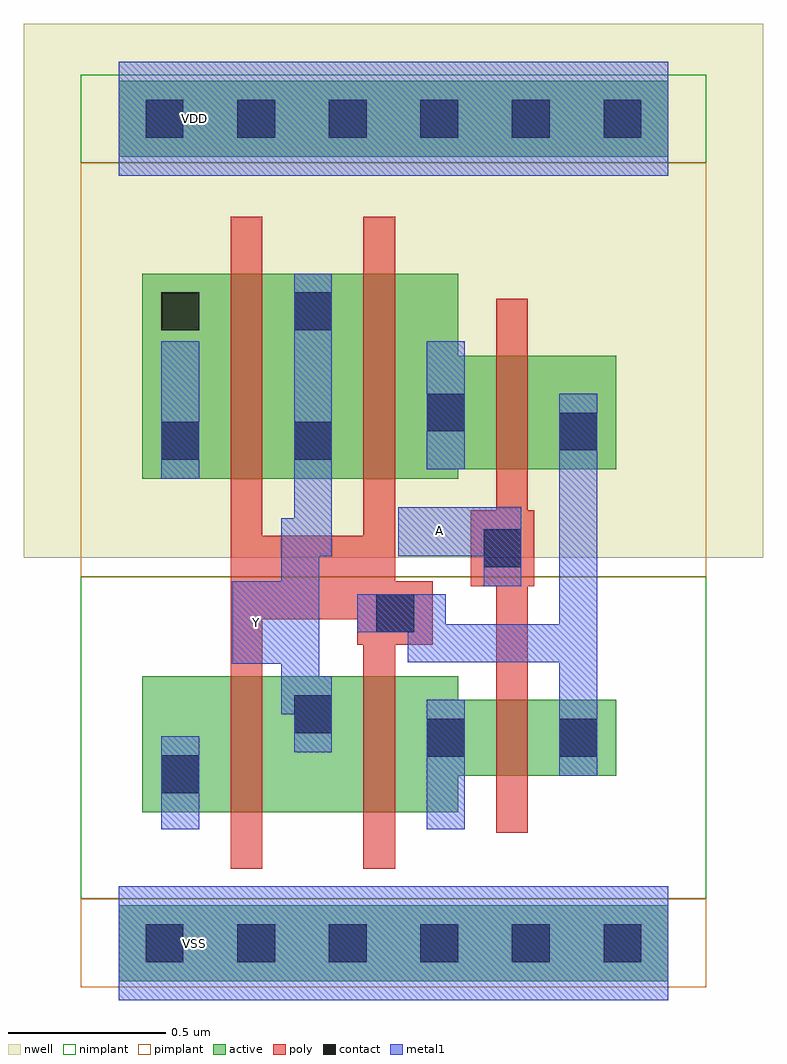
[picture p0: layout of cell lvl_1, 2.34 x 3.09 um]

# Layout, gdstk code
import gdstk
lib = gdstk.Library(unit=1e-6, precision=1e-09)
def R(c, l, rs):  # rectangles x0, y0, x1, y1
    for r in rs: c.add(gdstk.rectangle(r[:2], r[2:], *l))
def A(c, l, x, y, w, h, nx, ny, dx, dy):  # array of equal rectangles
    R(c, l, [(x+i*dx, y+j*dy, x+i*dx+w, y+j*dy+h) for i in range(nx) for j in range(ny)])
active = (1, 0)
nwell = (2, 0)
poly = (3, 0)
nimplant = (4, 0)
pimplant = (5, 0)
contact = (6, 0)
metal1 = (7, 0)

lvl_1 = lib.new_cell('lvl_1')
R(lvl_1, active, [(0,-0.12,1.74,0.12), (0.075,0.415,1.075,0.53), (0.075,0.53,1.575,0.77), (0.075,0.77,1.075,0.845), (0.075,1.47,1.075,1.5), (0.075,1.5,1.575,1.86), (0.075,1.86,1.075,2.12), (0,2.49,1.74,2.73)])
R(lvl_1, nwell, [(-0.3,1.22,2.04,2.91)])
R(lvl_1, poly, [(0.355,0.235,0.455,1.025), (0.775,0.235,0.875,0.945), (1.195,0.35,1.295,1.13), (0.755,0.945,0.995,1.025), (0.355,1.025,0.995,1.145), (1.115,1.13,1.315,1.37), (0.355,1.145,0.875,1.29), (0.355,1.29,0.455,2.3), (0.775,1.29,0.875,2.3), (1.195,1.37,1.295,2.04)])
R(lvl_1, nimplant, [(-0.12,0.14,1.86,1.16), (-0.12,2.47,1.86,2.75)])
R(lvl_1, pimplant, [(-0.12,-0.14,1.86,0.14), (-0.12,1.16,1.86,2.47)])
A(lvl_1, contact, 0.085, -0.06, 0.12, 0.12, 6, 2, 0.29, 2.61)
R(lvl_1, contact, [(0.135,0.475,0.255,0.595), (0.975,0.59,1.095,0.71), (1.395,0.59,1.515,0.71), (0.555,0.665,0.675,0.785), (0.815,0.985,0.935,1.105), (1.155,1.19,1.275,1.31), (0.135,1.53,0.255,1.65), (0.555,1.53,0.675,1.65), (1.395,1.56,1.515,1.68), (0.975,1.62,1.095,1.74), (0.135,1.94,0.255,2.06), (0.555,1.94,0.675,2.06)])
R(lvl_1, metal1, [(0,-0.18,1.74,0.18), (0.135,0.36,0.255,0.655), (0.975,0.36,1.095,0.77), (1.395,0.53,1.515,0.89), (0.555,0.605,0.675,0.725), (0.515,0.725,0.675,0.845), (0.515,0.845,0.635,0.885), (0.36,0.885,0.635,1.145), (0.915,0.89,1.515,0.985), (0.755,0.985,1.515,1.01), (0.755,1.01,1.035,1.105), (1.395,1.01,1.515,1.74), (1.155,1.13,1.275,1.225), (0.515,1.145,0.635,1.225), (0.515,1.225,0.675,1.345), (0.885,1.225,1.275,1.38), (0.555,1.345,0.675,2.12), (0.135,1.47,0.255,1.905), (0.975,1.5,1.095,1.905), (0,2.43,1.74,2.79)])
lvl_1.add(gdstk.Label('Y', (0.435,1.015), layer=40, texttype=0))
lvl_1.add(gdstk.Label('A', (1.015,1.305), layer=40, texttype=0))
lvl_1.add(gdstk.Label('VDD', (0.24,2.61), layer=40, texttype=0))
lvl_1.add(gdstk.Label('VSS', (0.24,0), layer=40, texttype=0))

lib.write_gds('lvl_1.gds')
